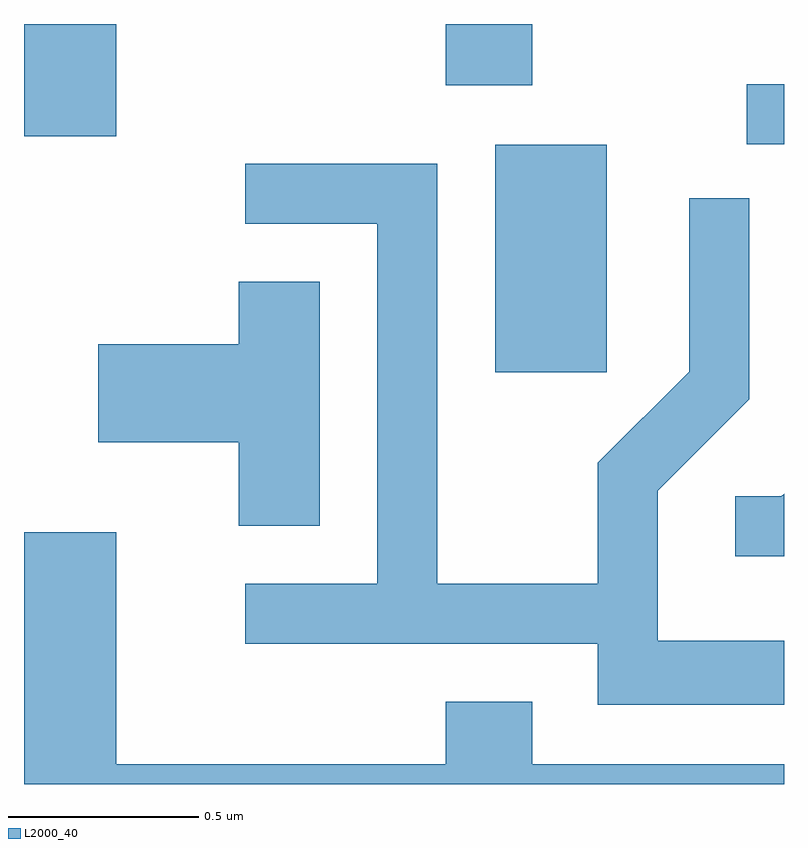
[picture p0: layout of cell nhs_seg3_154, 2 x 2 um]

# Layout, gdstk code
import gdstk
lib = gdstk.Library(unit=1e-6, precision=1e-09)
def R(c, l, rs):  # rectangles x0, y0, x1, y1
    for r in rs: c.add(gdstk.rectangle(r[:2], r[2:], *l))
def P(c, l, *ps):  # polygons
    for p in ps: c.add(gdstk.Polygon(p, *l))
L2000_40 = (2000, 40)

nhs_seg3_154 = lib.new_cell('nhs_seg3_154')
R(nhs_seg3_154, L2000_40, [(187.851,1133.976,188.144,1134.574), (188.513,1134.576,188.611,1134.734), (186.611,1134.596,186.854,1134.892), (187.721,1134.731,187.949,1134.892)])
P(nhs_seg3_154, L2000_40, [(188.611,1133.269),(188.279,1133.269),(188.279,1133.664),(188.519,1133.904),(188.519,1134.433),(188.361,1134.433),(188.361,1133.977),(188.121,1133.737),(188.121,1133.419),(187.699,1133.419),(187.699,1134.524),(187.193,1134.524),(187.193,1134.366),(187.541,1134.366),(187.541,1133.419),(187.193,1133.419),(187.193,1133.261),(188.121,1133.261),(188.121,1133.101),(188.611,1133.101)],
  [(187.389,1134.214),(187.176,1134.214),(187.176,1134.049),(186.806,1134.049),(186.806,1133.791),(187.176,1133.791),(187.176,1133.571),(187.389,1133.571)],
  [(188.611,1133.656),(188.604,1133.649),(188.483,1133.649),(188.483,1133.491),(188.611,1133.491)],
  [(188.611,1132.944),(187.949,1132.944),(187.949,1133.109),(187.721,1133.109),(187.721,1132.944),(186.854,1132.944),(186.854,1133.554),(186.611,1133.554),(186.611,1132.892),(188.611,1132.892)])

lib.write_gds('nhs_seg3_154.gds')
